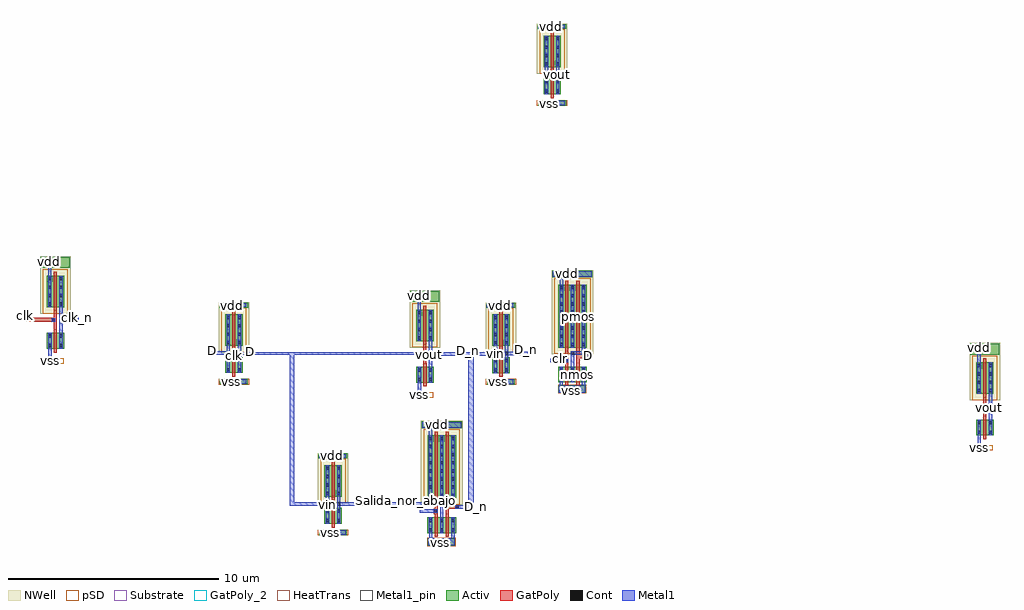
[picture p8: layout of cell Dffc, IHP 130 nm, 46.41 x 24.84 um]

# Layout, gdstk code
from math import pi, radians
import gdstk
lib = gdstk.Library(unit=1e-6, precision=1e-09)
def R(c, l, rs):  # rectangles x0, y0, x1, y1
    for r in rs: c.add(gdstk.rectangle(r[:2], r[2:], *l))
def A(c, l, x, y, w, h, nx, ny, dx, dy):  # array of equal rectangles
    R(c, l, [(x+i*dx, y+j*dy, x+i*dx+w, y+j*dy+h) for i in range(nx) for j in range(ny)])
def P(c, l, *ps):  # polygons
    for p in ps: c.add(gdstk.Polygon(p, *l))
Activ = (1, 0)
GatPoly = (5, 0)
GatPoly_2 = (5, 2)
Cont = (6, 0)
Metal1 = (8, 0)
Metal1_pin = (8, 2)
pSD = (14, 0)
NWell = (31, 0)
Substrate = (40, 0)
HeatTrans = (51, 0)

pmos_1_1 = lib.new_cell('pmos$1$1')
R(pmos_1_1, Activ, [(0,0,0.3,0.3), (0,0,0.83,3), (0.53,0,0.83,0.3)])
R(pmos_1_1, GatPoly, [(0.34,-0.18,0.49,3.18), (0.34,-0.18,0.49,3.18)])
A(pmos_1_1, Cont, 0.07, 0.07, 0.16, 0.16, 1, 7, 0, 0.385)
A(pmos_1_1, Cont, 0.6, 0.07, 0.16, 0.16, 1, 7, 0, 0.385)
R(pmos_1_1, Cont, [(0.07,2.77,0.23,2.93), (0.6,2.77,0.76,2.93)])
R(pmos_1_1, Metal1, [(0.07,0,0.23,3), (0.07,0,0.23,3), (0.6,0,0.76,3), (0.6,0,0.76,3)])
R(pmos_1_1, pSD, [(-0.18,-0.3,1.01,3.3)])
R(pmos_1_1, NWell, [(-0.31,-0.31,1.14,3.31)])
R(pmos_1_1, Substrate, [(0.53,0,0.83,0.3)])
R(pmos_1_1, HeatTrans, [(0.34,-0.18,0.49,3.18)])
pmos_1_1.add(gdstk.Label('pmos', (0.415,1.5), layer=63, texttype=0))
pmos_1_1.add(gdstk.Label('pmos', (0.415,1.5), layer=51, texttype=0))

nmos_1_1 = lib.new_cell('nmos$1$1')
R(nmos_1_1, Activ, [(0.002,0.22,0.302,0.52), (0.002,0.22,0.832,0.97), (0.532,0.22,0.832,0.52)])
R(nmos_1_1, GatPoly, [(0.342,0.04,0.492,1.15)])
R(nmos_1_1, GatPoly_2, [(0.342,0.04,0.492,1.15)])
R(nmos_1_1, Cont, [(0.072,0.29,0.232,0.45), (0.602,0.29,0.762,0.45), (0.072,0.74,0.232,0.9), (0.602,0.74,0.762,0.9)])
R(nmos_1_1, Metal1, [(0.072,0.22,0.232,0.97), (0.602,0.22,0.762,0.97)])
R(nmos_1_1, Metal1_pin, [(0.072,0.22,0.232,0.97), (0.602,0.22,0.762,0.97)])
R(nmos_1_1, HeatTrans, [(0.342,0.04,0.492,1.15)])
nmos_1_1.add(gdstk.Label('nmos', (0.417,0.595), layer=63, texttype=0))
nmos_1_1.add(gdstk.Label('nmos', (0.417,0.595), layer=51, texttype=0))

nmos_1_3 = lib.new_cell('nmos$1$3')
R(nmos_1_3, Activ, [(0,0,0.3,0.3), (0,0,0.83,0.75), (0.53,0,0.83,0.3)])
R(nmos_1_3, GatPoly, [(0.34,-0.18,0.49,0.93)])
R(nmos_1_3, GatPoly_2, [(0.34,-0.18,0.49,0.93)])
R(nmos_1_3, Cont, [(0.07,0.07,0.23,0.23), (0.6,0.07,0.76,0.23), (0.07,0.52,0.23,0.68), (0.6,0.52,0.76,0.68)])
R(nmos_1_3, Metal1, [(0.07,0,0.23,0.75), (0.6,0,0.76,0.75)])
R(nmos_1_3, Metal1_pin, [(0.07,0,0.23,0.75), (0.6,0,0.76,0.75)])
R(nmos_1_3, HeatTrans, [(0.34,-0.18,0.49,0.93)])
nmos_1_3.add(gdstk.Label('nmos', (0.415,0.375), layer=63, texttype=0))
nmos_1_3.add(gdstk.Label('nmos', (0.415,0.375), layer=51, texttype=0))

pmos_1_3 = lib.new_cell('pmos$1$3')
R(pmos_1_3, Activ, [(0,0,0.3,0.3), (0,0,0.83,1.5), (0.53,0,0.83,0.3)])
R(pmos_1_3, GatPoly, [(0.34,-0.18,0.49,1.68), (0.34,-0.18,0.49,1.68)])
A(pmos_1_3, Cont, 0.07, 0.07, 0.16, 0.16, 1, 4, 0, 0.4)
A(pmos_1_3, Cont, 0.6, 0.07, 0.16, 0.16, 1, 4, 0, 0.4)
R(pmos_1_3, Metal1, [(0.07,0,0.23,1.5), (0.07,0,0.23,1.5), (0.6,0,0.76,1.5), (0.6,0,0.76,1.5)])
R(pmos_1_3, pSD, [(-0.18,-0.3,1.01,1.8)])
R(pmos_1_3, NWell, [(-0.31,-0.31,1.14,1.81)])
R(pmos_1_3, Substrate, [(0.53,0,0.83,0.3)])
R(pmos_1_3, HeatTrans, [(0.34,-0.18,0.49,1.68)])
pmos_1_3.add(gdstk.Label('pmos', (0.415,0.75), layer=63, texttype=0))
pmos_1_3.add(gdstk.Label('pmos', (0.415,0.75), layer=51, texttype=0))

nmos_1_3_1 = lib.new_cell('nmos$1$3$1')
R(nmos_1_3_1, Activ, [(0,0,0.3,0.3), (0,0,0.83,0.75), (0.53,0,0.83,0.3)])
R(nmos_1_3_1, GatPoly, [(0.34,-0.18,0.49,0.93)])
R(nmos_1_3_1, GatPoly_2, [(0.34,-0.18,0.49,0.93)])
R(nmos_1_3_1, Cont, [(0.07,0.07,0.23,0.23), (0.6,0.07,0.76,0.23), (0.07,0.52,0.23,0.68), (0.6,0.52,0.76,0.68)])
R(nmos_1_3_1, Metal1, [(0.07,0,0.23,0.75), (0.6,0,0.76,0.75)])
R(nmos_1_3_1, Metal1_pin, [(0.07,0,0.23,0.75), (0.6,0,0.76,0.75)])
R(nmos_1_3_1, HeatTrans, [(0.34,-0.18,0.49,0.93)])
nmos_1_3_1.add(gdstk.Label('nmos', (0.415,0.375), layer=63, texttype=0))
nmos_1_3_1.add(gdstk.Label('nmos', (0.415,0.375), layer=51, texttype=0))

pmos_1_3_1 = lib.new_cell('pmos$1$3$1')
R(pmos_1_3_1, Activ, [(0,0,0.3,0.3), (0,0,0.83,1.5), (0.53,0,0.83,0.3)])
R(pmos_1_3_1, GatPoly, [(0.34,-0.18,0.49,1.68), (0.34,-0.18,0.49,1.68)])
A(pmos_1_3_1, Cont, 0.07, 0.07, 0.16, 0.16, 1, 4, 0, 0.4)
A(pmos_1_3_1, Cont, 0.6, 0.07, 0.16, 0.16, 1, 4, 0, 0.4)
R(pmos_1_3_1, Metal1, [(0.07,0,0.23,1.5), (0.07,0,0.23,1.5), (0.6,0,0.76,1.5), (0.6,0,0.76,1.5)])
R(pmos_1_3_1, pSD, [(-0.18,-0.3,1.01,1.8)])
R(pmos_1_3_1, NWell, [(-0.31,-0.31,1.14,1.81)])
R(pmos_1_3_1, Substrate, [(0.53,0,0.83,0.3)])
R(pmos_1_3_1, HeatTrans, [(0.34,-0.18,0.49,1.68)])
pmos_1_3_1.add(gdstk.Label('pmos', (0.415,0.75), layer=63, texttype=0))
pmos_1_3_1.add(gdstk.Label('pmos', (0.415,0.75), layer=51, texttype=0))

nmos_1_3_1_1 = lib.new_cell('nmos$1$3$1$1')
R(nmos_1_3_1_1, Activ, [(5.014,-1.666,5.314,-1.366), (5.014,-1.666,5.844,-0.916), (5.544,-1.666,5.844,-1.366)])
R(nmos_1_3_1_1, GatPoly, [(5.354,-1.846,5.504,-0.736)])
R(nmos_1_3_1_1, GatPoly_2, [(5.354,-1.846,5.504,-0.736)])
R(nmos_1_3_1_1, Cont, [(5.084,-1.596,5.244,-1.436), (5.614,-1.596,5.774,-1.436), (5.084,-1.146,5.244,-0.986), (5.614,-1.146,5.774,-0.986)])
R(nmos_1_3_1_1, Metal1, [(5.084,-1.666,5.244,-0.916), (5.614,-1.666,5.774,-0.916)])
R(nmos_1_3_1_1, Metal1_pin, [(5.084,-1.666,5.244,-0.916), (5.614,-1.666,5.774,-0.916)])
R(nmos_1_3_1_1, HeatTrans, [(5.354,-1.846,5.504,-0.736)])
nmos_1_3_1_1.add(gdstk.Label('nmos', (5.429,-1.291), layer=63, texttype=0))
nmos_1_3_1_1.add(gdstk.Label('nmos', (5.429,-1.291), layer=51, texttype=0))

pmos_1_3_1_1 = lib.new_cell('pmos$1$3$1$1')
R(pmos_1_3_1_1, Activ, [(5.014,-1.666,5.314,-1.366), (5.014,-1.666,5.844,-0.166), (5.544,-1.666,5.844,-1.366)])
R(pmos_1_3_1_1, GatPoly, [(5.354,-1.846,5.504,0.014), (5.354,-1.846,5.504,0.014)])
A(pmos_1_3_1_1, Cont, 5.084, -1.596, 0.16, 0.16, 1, 4, 0, 0.4)
A(pmos_1_3_1_1, Cont, 5.614, -1.596, 0.16, 0.16, 1, 4, 0, 0.4)
R(pmos_1_3_1_1, Metal1, [(5.084,-1.666,5.244,-0.166), (5.084,-1.666,5.244,-0.166), (5.614,-1.666,5.774,-0.166), (5.614,-1.666,5.774,-0.166)])
R(pmos_1_3_1_1, pSD, [(4.834,-1.966,6.024,0.134)])
R(pmos_1_3_1_1, NWell, [(4.704,-1.976,6.154,0.144)])
R(pmos_1_3_1_1, Substrate, [(5.544,-1.666,5.844,-1.366)])
R(pmos_1_3_1_1, HeatTrans, [(5.354,-1.846,5.504,0.014)])
pmos_1_3_1_1.add(gdstk.Label('pmos', (5.429,-0.916), layer=63, texttype=0))
pmos_1_3_1_1.add(gdstk.Label('pmos', (5.429,-0.916), layer=51, texttype=0))

nmos_3_1_1 = lib.new_cell('nmos$3$1$1')
R(nmos_3_1_1, Activ, [(0,0,0.3,0.3), (0,0,0.83,0.75), (0.53,0,0.83,0.3)])
R(nmos_3_1_1, GatPoly, [(0.34,-0.18,0.49,0.93)])
R(nmos_3_1_1, GatPoly_2, [(0.34,-0.18,0.49,0.93)])
R(nmos_3_1_1, Cont, [(0.07,0.07,0.23,0.23), (0.6,0.07,0.76,0.23), (0.07,0.52,0.23,0.68), (0.6,0.52,0.76,0.68)])
R(nmos_3_1_1, Metal1, [(0.07,0,0.23,0.75), (0.6,0,0.76,0.75)])
R(nmos_3_1_1, Metal1_pin, [(0.07,0,0.23,0.75), (0.6,0,0.76,0.75)])
R(nmos_3_1_1, HeatTrans, [(0.34,-0.18,0.49,0.93)])
nmos_3_1_1.add(gdstk.Label('nmos', (0.415,0.375), layer=63, texttype=0))
nmos_3_1_1.add(gdstk.Label('nmos', (0.415,0.375), layer=51, texttype=0))

pmos_3_1_1 = lib.new_cell('pmos$3$1$1')
R(pmos_3_1_1, Activ, [(0,0,0.3,0.3), (0,0,0.83,1.5), (0.53,0,0.83,0.3)])
R(pmos_3_1_1, GatPoly, [(0.34,-0.18,0.49,1.68), (0.34,-0.18,0.49,1.68)])
A(pmos_3_1_1, Cont, 0.07, 0.07, 0.16, 0.16, 1, 4, 0, 0.4)
A(pmos_3_1_1, Cont, 0.6, 0.07, 0.16, 0.16, 1, 4, 0, 0.4)
R(pmos_3_1_1, Metal1, [(0.07,0,0.23,1.5), (0.07,0,0.23,1.5), (0.6,0,0.76,1.5), (0.6,0,0.76,1.5)])
R(pmos_3_1_1, pSD, [(-0.18,-0.3,1.01,1.8)])
R(pmos_3_1_1, NWell, [(-0.31,-0.31,1.14,1.81)])
R(pmos_3_1_1, Substrate, [(0.53,0,0.83,0.3)])
R(pmos_3_1_1, HeatTrans, [(0.34,-0.18,0.49,1.68)])
pmos_3_1_1.add(gdstk.Label('pmos', (0.415,0.75), layer=63, texttype=0))
pmos_3_1_1.add(gdstk.Label('pmos', (0.415,0.75), layer=51, texttype=0))

nmos_3_1_1_1 = lib.new_cell('nmos$3$1$1$1')
R(nmos_3_1_1_1, Activ, [(-6.16,-0.009,-5.86,0.291), (-6.16,-0.009,-5.33,0.741), (-5.63,-0.009,-5.33,0.291)])
R(nmos_3_1_1_1, GatPoly, [(-5.82,-0.189,-5.67,0.921)])
R(nmos_3_1_1_1, GatPoly_2, [(-5.82,-0.189,-5.67,0.921)])
R(nmos_3_1_1_1, Cont, [(-6.09,0.061,-5.93,0.221), (-5.56,0.061,-5.4,0.221), (-6.09,0.511,-5.93,0.671), (-5.56,0.511,-5.4,0.671)])
R(nmos_3_1_1_1, Metal1, [(-6.09,-0.009,-5.93,0.741), (-5.56,-0.009,-5.4,0.741)])
R(nmos_3_1_1_1, Metal1_pin, [(-6.09,-0.009,-5.93,0.741), (-5.56,-0.009,-5.4,0.741)])
R(nmos_3_1_1_1, HeatTrans, [(-5.82,-0.189,-5.67,0.921)])
nmos_3_1_1_1.add(gdstk.Label('nmos', (-5.745,0.366), layer=63, texttype=0))
nmos_3_1_1_1.add(gdstk.Label('nmos', (-5.745,0.366), layer=51, texttype=0))

pmos_3_1_1_1 = lib.new_cell('pmos$3$1$1$1')
R(pmos_3_1_1_1, Activ, [(-6.16,-0.009,-5.86,0.291), (-6.16,-0.009,-5.33,1.491), (-5.63,-0.009,-5.33,0.291)])
R(pmos_3_1_1_1, GatPoly, [(-5.82,-0.189,-5.67,1.671), (-5.82,-0.189,-5.67,1.671)])
A(pmos_3_1_1_1, Cont, -6.09, 0.061, 0.16, 0.16, 1, 4, 0, 0.4)
A(pmos_3_1_1_1, Cont, -5.56, 0.061, 0.16, 0.16, 1, 4, 0, 0.4)
R(pmos_3_1_1_1, Metal1, [(-6.09,-0.009,-5.93,1.491), (-6.09,-0.009,-5.93,1.491), (-5.56,-0.009,-5.4,1.491), (-5.56,-0.009,-5.4,1.491)])
R(pmos_3_1_1_1, pSD, [(-6.34,-0.309,-5.15,1.791)])
R(pmos_3_1_1_1, NWell, [(-6.47,-0.319,-5.02,1.801)])
R(pmos_3_1_1_1, Substrate, [(-5.63,-0.009,-5.33,0.291)])
R(pmos_3_1_1_1, HeatTrans, [(-5.82,-0.189,-5.67,1.671)])
pmos_3_1_1_1.add(gdstk.Label('pmos', (-5.745,0.741), layer=63, texttype=0))
pmos_3_1_1_1.add(gdstk.Label('pmos', (-5.745,0.741), layer=51, texttype=0))

pmos_3 = lib.new_cell('pmos$3')
R(pmos_3, Activ, [(0,0,0.3,0.3), (0,0,0.83,1.5), (0.53,0,0.83,0.3)])
R(pmos_3, GatPoly, [(0.34,-0.18,0.49,1.68), (0.34,-0.18,0.49,1.68)])
A(pmos_3, Cont, 0.07, 0.07, 0.16, 0.16, 1, 4, 0, 0.4)
A(pmos_3, Cont, 0.6, 0.07, 0.16, 0.16, 1, 4, 0, 0.4)
R(pmos_3, Metal1, [(0.07,0,0.23,1.5), (0.07,0,0.23,1.5), (0.6,0,0.76,1.5), (0.6,0,0.76,1.5)])
R(pmos_3, pSD, [(-0.18,-0.3,1.01,1.8)])
R(pmos_3, NWell, [(-0.31,-0.31,1.14,1.81)])
R(pmos_3, Substrate, [(0.53,0,0.83,0.3)])
R(pmos_3, HeatTrans, [(0.34,-0.18,0.49,1.68)])
pmos_3.add(gdstk.Label('pmos', (0.415,0.75), layer=63, texttype=0))
pmos_3.add(gdstk.Label('pmos', (0.415,0.75), layer=51, texttype=0))

nmos_3 = lib.new_cell('nmos$3')
R(nmos_3, Activ, [(0,0,0.3,0.3), (0,0,0.83,0.75), (0.53,0,0.83,0.3)])
R(nmos_3, GatPoly, [(0.34,-0.18,0.49,0.93)])
R(nmos_3, GatPoly_2, [(0.34,-0.18,0.49,0.93)])
R(nmos_3, Cont, [(0.07,0.07,0.23,0.23), (0.6,0.07,0.76,0.23), (0.07,0.52,0.23,0.68), (0.6,0.52,0.76,0.68)])
R(nmos_3, Metal1, [(0.07,0,0.23,0.75), (0.6,0,0.76,0.75)])
R(nmos_3, Metal1_pin, [(0.07,0,0.23,0.75), (0.6,0,0.76,0.75)])
R(nmos_3, HeatTrans, [(0.34,-0.18,0.49,0.93)])
nmos_3.add(gdstk.Label('nmos', (0.415,0.375), layer=63, texttype=0))
nmos_3.add(gdstk.Label('nmos', (0.415,0.375), layer=51, texttype=0))

pmos_3_1 = lib.new_cell('pmos$3$1')
R(pmos_3_1, Activ, [(-10.251,-14.771,-9.951,-14.471), (-10.251,-14.771,-9.421,-13.271), (-9.721,-14.771,-9.421,-14.471)])
R(pmos_3_1, GatPoly, [(-9.911,-14.951,-9.761,-13.091), (-9.911,-14.951,-9.761,-13.091)])
A(pmos_3_1, Cont, -10.181, -14.701, 0.16, 0.16, 1, 4, 0, 0.4)
A(pmos_3_1, Cont, -9.651, -14.701, 0.16, 0.16, 1, 4, 0, 0.4)
R(pmos_3_1, Metal1, [(-10.181,-14.771,-10.021,-13.271), (-10.181,-14.771,-10.021,-13.271), (-9.651,-14.771,-9.491,-13.271), (-9.651,-14.771,-9.491,-13.271)])
R(pmos_3_1, pSD, [(-10.431,-15.071,-9.241,-12.971)])
R(pmos_3_1, NWell, [(-10.561,-15.081,-9.111,-12.961)])
R(pmos_3_1, Substrate, [(-9.721,-14.771,-9.421,-14.471)])
R(pmos_3_1, HeatTrans, [(-9.911,-14.951,-9.761,-13.091)])
pmos_3_1.add(gdstk.Label('pmos', (-9.836,-14.021), layer=63, texttype=0))
pmos_3_1.add(gdstk.Label('pmos', (-9.836,-14.021), layer=51, texttype=0))

nmos_3_1 = lib.new_cell('nmos$3$1')
R(nmos_3_1, Activ, [(-10.251,-14.771,-9.951,-14.471), (-10.251,-14.771,-9.421,-14.021), (-9.721,-14.771,-9.421,-14.471)])
R(nmos_3_1, GatPoly, [(-9.911,-14.951,-9.761,-13.841)])
R(nmos_3_1, GatPoly_2, [(-9.911,-14.951,-9.761,-13.841)])
R(nmos_3_1, Cont, [(-10.181,-14.701,-10.021,-14.541), (-9.651,-14.701,-9.491,-14.541), (-10.181,-14.251,-10.021,-14.091), (-9.651,-14.251,-9.491,-14.091)])
R(nmos_3_1, Metal1, [(-10.181,-14.771,-10.021,-14.021), (-9.651,-14.771,-9.491,-14.021)])
R(nmos_3_1, Metal1_pin, [(-10.181,-14.771,-10.021,-14.021), (-9.651,-14.771,-9.491,-14.021)])
R(nmos_3_1, HeatTrans, [(-9.911,-14.951,-9.761,-13.841)])
nmos_3_1.add(gdstk.Label('nmos', (-9.836,-14.396), layer=63, texttype=0))
nmos_3_1.add(gdstk.Label('nmos', (-9.836,-14.396), layer=51, texttype=0))

pmos_1_1_1 = lib.new_cell('pmos$1$1$1')

nmos_1_1_1 = lib.new_cell('nmos$1$1$1')

pmos_1_1_2 = lib.new_cell('pmos$1$1$2')

nmos_1_1_2 = lib.new_cell('nmos$1$1$2')

dffc = lib.new_cell('Dffc')
R(dffc, Activ, [(-4.16,-3.948,-2.875,-3.583), (-9.327,-3.438,-8.012,-3.183), (-9.367,0.212,-7.992,0.442), (21.869,0.649,22.504,0.819), (-4.461,1.649,-2.561,1.964), (-4.754,3.152,-4.119,3.322), (2.05,3.321,3.335,3.686), (-1.348,3.725,-0.033,3.98), (-14.051,3.733,-12.736,3.988), (2.029,3.826,2.859,4.576), (2.559,3.826,3.389,4.576), (2.029,4.276,2.329,4.576), (2.559,4.276,2.859,4.576), (2.559,4.276,2.859,4.576), (3.089,4.276,3.389,4.576), (-22.323,4.767,-21.688,4.937), (21.624,5.144,23.009,5.649), (2.031,5.476,2.861,8.476), (2.561,5.476,3.391,8.476), (-1.388,7.375,-0.013,7.605), (-14.091,7.383,-12.716,7.613), (-4.999,7.647,-3.614,8.152), (2.031,8.176,2.331,8.476), (2.561,8.176,2.861,8.476), (2.561,8.176,2.861,8.476), (3.091,8.176,3.391,8.476), (1.751,8.821,3.651,9.136), (-22.568,9.262,-21.183,9.767), (1.089,16.979,2.404,17.234), (1.049,20.629,2.424,20.859)])
R(dffc, GatPoly, [(22.239,2.209,22.389,3.099), (22.129,2.589,22.299,2.759), (2.369,3.646,2.519,4.756), (2.899,3.646,3.049,4.756), (-4.384,4.712,-4.234,5.602), (-4.494,5.092,-4.324,5.262), (2.371,5.296,2.521,8.656), (2.371,5.296,2.521,8.656), (2.901,5.296,3.051,8.656), (2.901,5.296,3.051,8.656)])
P(dffc, GatPoly, [(-21.953,6.327),(-21.953,6.704),(-23.367,6.704),(-23.367,6.894),(-21.953,6.894),(-21.953,7.217),(-21.803,7.217),(-21.803,6.327)],
  [(-3.312,-2.428),(-3.312,-2.178),(-3.311,-2.178),(-3.311,-1.876),(-3.161,-1.876),(-3.161,-2.006),(-2.691,-2.006),(-2.691,-2.196),(-3.162,-2.196),(-3.162,-2.428)],
  [(-3.881,-2.441),(-3.881,-2.193),(-3.846,-2.193),(-3.846,-2.006),(-3.841,-2.006),(-3.841,-1.876),(-3.691,-1.876),(-3.691,-2.421),(-3.692,-2.421),(-3.692,-2.441)],
  [(2.331,4.731),(2.331,4.979),(2.366,4.979),(2.366,5.166),(2.371,5.166),(2.371,5.296),(2.521,5.296),(2.521,4.751),(2.52,4.751),(2.52,4.731)],
  [(2.9,4.744),(2.9,4.994),(2.901,4.994),(2.901,5.296),(3.051,5.296),(3.051,5.166),(3.521,5.166),(3.521,4.976),(3.05,4.976),(3.05,4.744)])
R(dffc, GatPoly_2, [(-3.876,-2.421,-3.695,-2.198), (-2.862,-2.176,-2.702,-2.016), (-8.742,-2.118,-8.592,-1.973), (-8.742,-1.788,-8.592,-1.623), (2.369,3.646,2.519,4.756), (2.899,3.646,3.049,4.756), (2.336,4.751,2.517,4.974), (3.35,4.996,3.51,5.156), (-0.763,5.045,-0.613,5.19), (-13.466,5.053,-13.316,5.198), (-0.763,5.375,-0.613,5.54), (-13.466,5.383,-13.316,5.548), (1.674,18.299,1.824,18.444), (1.674,18.629,1.824,18.794)])
A(dffc, Cont, 2.101, 5.936, 0.16, 0.16, 1, 7, 0, 0.385)
A(dffc, Cont, 3.161, 5.936, 0.16, 0.16, 1, 7, 0, 0.385)
R(dffc, Cont, [(-3.675,-3.888,-3.465,-3.683), (-8.882,-3.393,-8.717,-3.233), (-3.867,-2.378,-3.707,-2.218), (-2.862,-2.176,-2.702,-2.016), (-9.012,-2.038,-8.852,-1.878), (-8.482,-2.038,-8.322,-1.878), (-3.581,-2.036,-3.421,-1.876), (-8.802,0.247,-8.642,0.407), (21.979,0.649,22.139,0.809), (-3.786,1.744,-3.626,1.904), (22.139,2.594,22.299,2.754), (-4.644,3.152,-4.484,3.312), (2.535,3.381,2.745,3.586), (-0.903,3.77,-0.738,3.93), (-13.606,3.778,-13.441,3.938), (2.099,3.896,2.259,4.056), (2.629,3.896,2.789,4.056), (2.629,3.896,2.789,4.056), (3.159,3.896,3.319,4.056), (2.099,4.346,2.259,4.506), (2.629,4.346,2.789,4.506), (2.629,4.346,2.789,4.506), (3.159,4.346,3.319,4.506), (-22.213,4.767,-22.053,4.927), (2.345,4.794,2.505,4.954), (3.35,4.996,3.51,5.156), (-4.484,5.097,-4.324,5.257), (-1.033,5.125,-0.873,5.285), (-0.503,5.125,-0.343,5.285), (-13.736,5.133,-13.576,5.293), (-13.206,5.133,-13.046,5.293), (2.631,5.136,2.791,5.296), (21.969,5.324,22.129,5.484), (2.101,5.546,2.261,5.706), (2.631,5.546,2.791,5.706), (2.631,5.546,2.791,5.706), (3.161,5.546,3.321,5.706), (2.631,5.936,2.791,6.096), (2.631,5.936,2.791,6.096), (2.631,6.321,2.791,6.481), (2.631,6.321,2.791,6.481), (2.631,6.706,2.791,6.866), (2.631,6.706,2.791,6.866), (-22.053,6.712,-21.893,6.872), (2.631,7.091,2.791,7.251), (2.631,7.091,2.791,7.251), (-0.823,7.41,-0.663,7.57), (-13.526,7.418,-13.366,7.578), (2.631,7.476,2.791,7.636), (2.631,7.476,2.791,7.636), (-4.654,7.827,-4.494,7.987), (2.631,7.861,2.791,8.021), (2.631,7.861,2.791,8.021), (2.631,8.246,2.791,8.406), (2.631,8.246,2.791,8.406), (2.426,8.916,2.586,9.076), (-22.223,9.442,-22.063,9.602), (1.534,17.024,1.699,17.184), (1.404,18.379,1.564,18.539), (1.934,18.379,2.094,18.539), (1.614,20.664,1.774,20.824)])
R(dffc, Metal1, [(-9.262,-3.423,-8.072,-3.203), (-4.549,-2.387,-3.706,-2.217), (-8.482,-2.163,-8.322,-1.593), (-9.337,0.237,-8.072,0.417), (21.974,0.514,22.134,1.304), (22.499,2.029,22.664,3.279), (22.134,2.589,22.304,2.759), (-4.649,3.017,-4.489,3.807), (-1.283,3.74,-0.093,3.96), (-13.986,3.748,-12.796,3.968), (2.099,3.826,2.259,4.576), (2.629,3.826,2.789,4.576), (2.629,3.826,2.789,4.576), (3.159,3.826,3.319,4.576), (-22.218,4.632,-22.058,5.422), (21.969,4.779,22.129,5.694), (1.663,4.785,2.506,4.955), (-4.489,5.092,-4.319,5.262), (2.101,5.476,2.261,8.476), (2.101,5.476,2.261,8.476), (2.631,5.476,2.791,8.476), (2.631,5.476,2.791,8.476), (2.631,5.476,2.791,8.476), (2.631,5.476,2.791,8.476), (3.161,5.476,3.321,8.476), (3.161,5.476,3.321,8.476), (-22.058,6.707,-21.888,6.877), (-4.654,7.282,-4.494,8.197), (-1.358,7.4,-0.093,7.58), (-14.061,7.408,-12.796,7.588), (-22.223,8.897,-22.063,9.812), (1.154,16.994,2.344,17.214), (1.404,18.244,1.564,18.809), (1.934,18.254,2.094,18.824), (1.079,20.654,2.344,20.834)])
P(dffc, Metal1, [(-3.581,-2.614),(-3.581,-2.036),(-8.482,-2.036),(-8.482,-1.876),(-3.051,-1.876),(-3.051,-1.696),(-2.891,-1.696),(-2.891,-2.036),(-3.421,-2.036),(-3.421,-2.614)],
  [(-9.012,-2.173),(-9.012,-2.042),(-10.722,-2.042),(-10.722,5.131),(-13.046,5.131),(-13.046,4.977),(-13.206,4.977),(-13.206,5.602),(-13.046,5.602),(-13.046,5.262),(-4.319,5.262),(-4.319,5.131),(-10.511,5.131),(-10.511,-1.877),(-9.012,-1.877),(-9.012,-1.608),(-8.852,-1.608),(-8.852,-2.173)],
  [(-21.693,6.147),(-21.693,7.397),(-21.528,7.397),(-21.528,6.887),(-20.767,6.887),(-20.767,6.685),(-21.528,6.685),(-21.528,6.147)],
  [(2.629,4.537),(2.629,5.296),(2.754,5.296),(2.754,5.297),(3.161,5.297),(3.161,5.511),(3.321,5.511),(3.321,5.136),(2.791,5.136),(2.791,4.537)],
  [(-13.736,4.998),(-13.736,5.133),(-14.441,5.133),(-14.441,5.292),(-13.736,5.292),(-13.736,5.563),(-13.576,5.563),(-13.576,4.998)],
  [(-4.14,-3.933),(-4.14,-3.598),(-4.11,-3.598),(-4.11,-3.333),(-3.95,-3.333),(-3.95,-3.598),(-3.05,-3.598),(-3.05,-3.333),(-2.89,-3.333),(-2.89,-3.933)],
  [(2.101,8.476),(2.101,8.841),(1.771,8.841),(1.771,9.111),(3.631,9.111),(3.631,8.841),(2.261,8.841),(2.261,8.476)],
  [(2.07,3.336),(2.07,3.671),(2.1,3.671),(2.1,3.936),(2.26,3.936),(2.26,3.671),(3.16,3.671),(3.16,3.936),(3.32,3.936),(3.32,3.336)],
  [(-2.862,-2.176),(-2.862,-2.016),(-2.235,-2.016),(-2.235,5.083),(-3.959,5.083),(-3.959,4.532),(-4.124,4.532),(-4.124,5.782),(-3.959,5.782),(-3.959,5.244),(-1.033,5.244),(-1.033,5.515),(-0.873,5.515),(-0.873,4.95),(-1.033,4.95),(-1.033,5.083),(-1.988,5.083),(-1.988,-2.176)],
  [(-0.503,5),(-0.503,5.57),(-0.343,5.57),(-0.343,5.285),(0.73,5.285),(0.73,5.124),(-0.343,5.124),(-0.343,5)],
  [(-4.111,1.304),(-4.111,1.669),(-4.441,1.669),(-4.441,1.939),(-2.581,1.939),(-2.581,1.669),(-3.951,1.669),(-3.951,1.304)],
  [(-4.649,3.807),(-4.649,3.807),(-4.489,3.807),(-4.489,3.807)],
  [(21.974,1.304),(21.974,1.304),(22.134,1.304),(22.134,1.304)],
  [(-22.218,5.422),(-22.218,5.422),(-22.058,5.422),(-22.058,5.422)])
R(dffc, Metal1_pin, [(-3.675,-3.888,-3.465,-3.683), (-8.882,-3.393,-8.717,-3.233), (-9.012,-2.073,-8.852,-1.863), (-8.482,-2.063,-8.322,-1.863), (-3.581,-2.036,-3.421,-1.876), (-8.802,0.247,-8.642,0.407), (21.974,0.644,22.134,0.819), (-3.786,1.749,-3.626,1.904), (22.499,2.514,22.664,2.769), (-4.649,3.147,-4.489,3.322), (2.535,3.381,2.745,3.586), (-0.903,3.77,-0.738,3.93), (-13.606,3.778,-13.441,3.938), (2.099,3.826,2.259,4.576), (2.629,3.826,2.789,4.576), (2.629,3.826,2.789,4.576), (3.159,3.826,3.319,4.576), (-22.218,4.762,-22.058,4.937), (-4.124,5.017,-3.959,5.272), (-1.033,5.09,-0.873,5.3), (-13.736,5.098,-13.576,5.308), (-0.503,5.1,-0.343,5.3), (-13.206,5.108,-13.046,5.308), (2.631,5.136,2.791,5.296), (21.969,5.209,22.129,5.614), (-21.693,6.632,-21.528,6.887), (-0.823,7.41,-0.663,7.57), (-13.526,7.418,-13.366,7.578), (-4.654,7.712,-4.494,8.117), (2.426,8.921,2.586,9.076), (-22.223,9.327,-22.063,9.732), (1.534,17.024,1.699,17.184), (1.404,18.344,1.564,18.554), (1.934,18.354,2.094,18.554), (1.614,20.664,1.774,20.824)])
R(dffc, pSD, [(-4.185,-3.968,-2.85,-3.563), (-9.392,-3.453,-7.942,-3.173), (21.844,0.599,22.704,0.844), (-4.779,3.102,-3.919,3.347), (2.025,3.301,3.36,3.706), (-1.413,3.71,0.037,3.99), (-14.116,3.718,-12.666,3.998), (-22.348,4.717,-21.488,4.962), (1.851,5.176,3.041,8.776), (2.381,5.176,3.571,8.776), (1.024,16.964,2.474,17.244)])
R(dffc, NWell, [(-9.392,0.202,-7.942,0.457), (-4.491,1.614,-2.511,1.989), (21.589,5.089,23.039,5.699), (1.721,5.166,3.171,8.786), (2.251,5.166,3.701,8.786), (-1.413,7.365,0.037,7.62), (-14.116,7.373,-12.666,7.628), (-5.034,7.592,-3.584,8.202), (1.721,8.786,3.701,9.161), (-22.603,9.207,-21.153,9.817), (1.024,20.619,2.474,20.874)])
R(dffc, Substrate, [(2.031,8.176,2.331,8.476), (2.561,8.176,2.861,8.476)])
R(dffc, HeatTrans, [(2.369,3.646,2.519,4.756), (2.899,3.646,3.049,4.756), (2.371,5.296,2.521,8.656), (2.901,5.296,3.051,8.656)])
dffc.add(gdstk.Reference(pmos_1_1, (-2.821,1.304), rotation=pi))
dffc.add(gdstk.Reference(nmos_1_1, (-2.821,-2.376), rotation=pi))
dffc.add(gdstk.Reference(pmos_1_1, (-3.351,1.304), rotation=pi))
dffc.add(gdstk.Reference(nmos_1_3, (-3.889,4.557), rotation=pi))
dffc.add(gdstk.Reference(pmos_1_3, (-3.894,7.282), rotation=pi))
dffc.add(gdstk.Reference(nmos_1_3_1, (22.734,2.054), rotation=pi))
dffc.add(gdstk.Reference(pmos_1_3_1, (22.729,4.779), rotation=pi))
dffc.add(gdstk.Reference(nmos_1_3_1_1, (-16.444,4.506), rotation=pi))
dffc.add(gdstk.Reference(pmos_1_3_1_1, (-16.449,7.231), rotation=pi))
dffc.add(gdstk.Reference(nmos_3_1_1, (1.334,17.519)))
dffc.add(gdstk.Reference(pmos_3_1_1, (1.334,18.809)))
dffc.add(gdstk.Reference(nmos_3_1_1_1, (-7.646,4.282)))
dffc.add(gdstk.Reference(pmos_3_1_1_1, (-7.646,5.572)))
dffc.add(gdstk.Reference(pmos_3, (-1.103,5.555)))
dffc.add(gdstk.Reference(nmos_3, (-1.103,4.265)))
dffc.add(gdstk.Reference(nmos_1_1, (-3.351,-2.376), rotation=pi))
dffc.add(gdstk.Reference(pmos_3_1, (1.169,13.163)))
dffc.add(gdstk.Reference(nmos_3_1, (1.169,11.873)))
dffc.add(gdstk.Reference(pmos_1_1_1, (4.236,8.195), rotation=pi))
dffc.add(gdstk.Reference(nmos_1_1_1, (3.706,4.515), rotation=pi))
dffc.add(gdstk.Reference(nmos_1_1_1, (4.236,4.515), rotation=pi))
dffc.add(gdstk.Reference(pmos_1_1_1, (3.706,8.195), rotation=pi))
dffc.add(gdstk.Reference(pmos_1_1_2, (8.937,8.236), rotation=pi))
dffc.add(gdstk.Reference(nmos_1_1_2, (8.937,4.556), rotation=pi))
dffc.add(gdstk.Reference(pmos_1_1_2, (8.407,8.236), rotation=pi))
dffc.add(gdstk.Reference(nmos_1_1_2, (8.407,4.556), rotation=pi))
dffc.add(gdstk.Label('D', (-14.392,5.347), layer=63, texttype=0))
dffc.add(gdstk.Label('D', (-12.581,5.286), layer=63, texttype=0))
dffc.add(gdstk.Label('clk', (-13.378,5.078), layer=63, texttype=0))
dffc.add(gdstk.Label('clk_n', (-13.388,5.436), layer=63, texttype=0))
dffc.add(gdstk.Label('clk', (-23.293,6.991), layer=63, texttype=0))
dffc.add(gdstk.Label('clk_n', (-20.807,6.921), layer=63, texttype=0))
dffc.add(gdstk.Label('Salida_nor_abajo', (-5.223,-1.797), layer=63, texttype=0))
dffc.add(gdstk.Label('D_n', (-1.861,-2.092), layer=63, texttype=0))
dffc.add(gdstk.Label('clr', (-4.073,-2.19), layer=63, texttype=0))
dffc.add(gdstk.Label('pmos', (2.976,6.976), layer=63, texttype=0))
dffc.add(gdstk.Label('pmos', (2.446,6.976), layer=63, texttype=0))
dffc.add(gdstk.Label('clr', (2.139,4.982), layer=63, texttype=0))
dffc.add(gdstk.Label('nmos', (2.974,4.201), layer=63, texttype=0))
dffc.add(gdstk.Label('nmos', (2.444,4.201), layer=63, texttype=0))
dffc.add(gdstk.Label('D_n', (-2.225,5.36), layer=63, texttype=0))
dffc.add(gdstk.Label('D_n', (0.507,5.396), layer=63, texttype=0))
dffc.add(gdstk.Label('nmos', (2.974,4.201), layer=51, texttype=0))
dffc.add(gdstk.Label('nmos', (2.444,4.201), layer=51, texttype=0))
dffc.add(gdstk.Label('pmos', (2.976,6.976), layer=51, texttype=0))
dffc.add(gdstk.Label('pmos', (2.446,6.976), layer=51, texttype=0))
dffc.add(gdstk.Label('vout', (-13.136,5.203), layer=8, texttype=2))
dffc.add(gdstk.Label('vin', (-13.666,5.188), layer=8, texttype=2))
dffc.add(gdstk.Label('vss', (-13.516,3.858), layer=8, texttype=2))
dffc.add(gdstk.Label('vdd', (-13.436,7.498), layer=8, texttype=2))
dffc.add(gdstk.Label('vdd', (-8.712,0.327), layer=8, texttype=2))
dffc.add(gdstk.Label('vss', (-8.792,-3.313), layer=8, texttype=2))
dffc.add(gdstk.Label('vin', (-8.942,-1.983), layer=8, texttype=2))
dffc.add(gdstk.Label('vout', (-8.412,-1.968), layer=8, texttype=2))
dffc.add(gdstk.Label('vout', (-21.643,6.767), layer=8, texttype=2))
dffc.add(gdstk.Label('vss', (-22.113,4.842), layer=8, texttype=2))
dffc.add(gdstk.Label('vdd', (-22.138,9.577), layer=8, texttype=2))
dffc.add(gdstk.Label('vss', (-3.555,-3.813), layer=8, texttype=2))
dffc.add(gdstk.Label('vdd', (2.496,8.991), layer=8, texttype=2))
dffc.add(gdstk.Label('out', (2.691,5.166), layer=8, texttype=2))
dffc.add(gdstk.Label('vss', (2.655,3.456), layer=8, texttype=2))
dffc.add(gdstk.Label('out', (-3.521,-2.006), layer=8, texttype=2))
dffc.add(gdstk.Label('vdd', (-3.716,1.819), layer=8, texttype=2))
dffc.add(gdstk.Label('vout', (22.549,2.649), layer=8, texttype=2))
dffc.add(gdstk.Label('vss', (22.079,0.724), layer=8, texttype=2))
dffc.add(gdstk.Label('vdd', (22.054,5.459), layer=8, texttype=2))
dffc.add(gdstk.Label('vout', (2.004,18.449), layer=8, texttype=2))
dffc.add(gdstk.Label('vin', (1.474,18.434), layer=8, texttype=2))
dffc.add(gdstk.Label('vss', (1.624,17.104), layer=8, texttype=2))
dffc.add(gdstk.Label('vdd', (1.704,20.744), layer=8, texttype=2))
dffc.add(gdstk.Label('vout', (-4.074,5.152), layer=8, texttype=2))
dffc.add(gdstk.Label('vss', (-4.544,3.227), layer=8, texttype=2))
dffc.add(gdstk.Label('vdd', (-4.569,7.962), layer=8, texttype=2))
dffc.add(gdstk.Label('vdd', (-0.733,7.49), layer=8, texttype=2))
dffc.add(gdstk.Label('vss', (-0.813,3.85), layer=8, texttype=2))
dffc.add(gdstk.Label('vin', (-0.963,5.18), layer=8, texttype=2))
dffc.add(gdstk.Label('vout', (-0.433,5.195), layer=8, texttype=2))
dffc.add(gdstk.Label('Entrada_N', (-13.366,5.128), layer=5, texttype=2))
dffc.add(gdstk.Label('Entrada_P', (-13.401,5.478), layer=5, texttype=2))
dffc.add(gdstk.Label('Entrada_P', (-8.677,-1.693), layer=5, texttype=2))
dffc.add(gdstk.Label('Entrada_N', (-8.642,-2.043), layer=5, texttype=2))
dffc.add(gdstk.Label('vin', (-21.978,6.782), layer=5, texttype=2))
dffc.add(gdstk.Label('clr', (-3.784,-2.215), layer=5, texttype=2))
dffc.add(gdstk.Label('D', (3.451,5.091), layer=5, texttype=2))
dffc.add(gdstk.Label('clr', (2.428,4.957), layer=5, texttype=2))
dffc.add(gdstk.Label('D', (-2.761,-2.081), layer=5, texttype=2))
dffc.add(gdstk.Label('vin', (22.214,2.664), layer=5, texttype=2))
dffc.add(gdstk.Label('Entrada_N', (1.774,18.374), layer=5, texttype=2))
dffc.add(gdstk.Label('Entrada_P', (1.739,18.724), layer=5, texttype=2))
dffc.add(gdstk.Label('vin', (-4.409,5.167), layer=5, texttype=2))
dffc.add(gdstk.Label('Entrada_P', (-0.698,5.47), layer=5, texttype=2))
dffc.add(gdstk.Label('Entrada_N', (-0.663,5.12), layer=5, texttype=2))

lib.write_gds('Dffc.gds')
